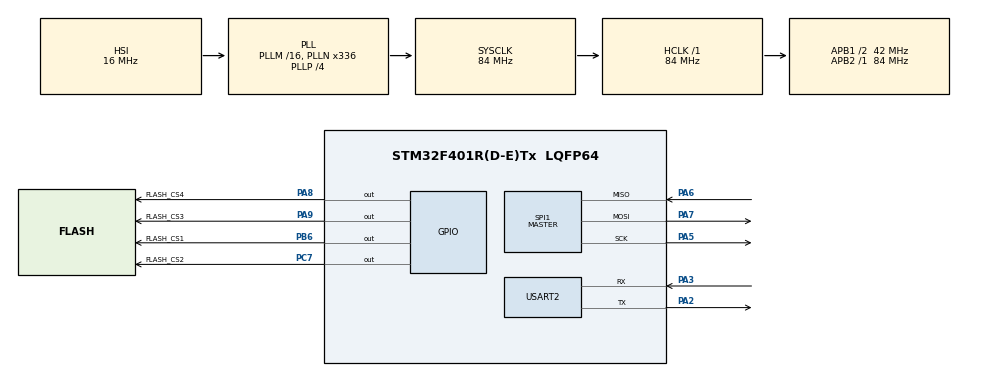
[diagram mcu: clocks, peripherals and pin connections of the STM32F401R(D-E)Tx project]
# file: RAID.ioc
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Mcu.Family=STM32F4
Mcu.Name=STM32F401R(D-E)Tx
Mcu.Package=LQFP64
NVIC.PriorityGroup=NVIC_PRIORITYGROUP_4
PA2.Mode=Asynchronous
PA2.Signal=USART2_TX
PA3.Mode=Asynchronous
PA3.Signal=USART2_RX
PA5.Mode=Full_Duplex_Master
PA5.Signal=SPI1_SCK
PA6.Mode=Full_Duplex_Master
PA6.Signal=SPI1_MISO
PA7.Mode=Full_Duplex_Master
PA7.Signal=SPI1_MOSI
PA8.GPIO_Label=FLASH_CS4
PA8.PinState=GPIO_PIN_SET
PA8.Signal=GPIO_Output
PA9.GPIO_Label=FLASH_CS3
PA9.PinState=GPIO_PIN_SET
PA9.Signal=GPIO_Output
PB6.GPIO_Label=FLASH_CS1
PB6.PinState=GPIO_PIN_SET
PB6.Signal=GPIO_Output
PC7.GPIO_Label=FLASH_CS2
PC7.PinState=GPIO_PIN_SET
PC7.Signal=GPIO_Output
ProjectManager.HeapSize=0x200
ProjectManager.StackSize=0x400
ProjectManager.TargetToolchain=STM32CubeIDE
RCC.48MHZClocksFreq_Value=48000000
RCC.AHBFreq_Value=84000000
RCC.APB1CLKDivider=RCC_HCLK_DIV2
RCC.APB1Freq_Value=42000000
RCC.APB1TimFreq_Value=84000000
RCC.APB2Freq_Value=84000000
RCC.APB2TimFreq_Value=84000000
RCC.CortexFreq_Value=84000000
RCC.HCLKFreq_Value=84000000
RCC.HSE_VALUE=8000000
RCC.HSI_VALUE=16000000
RCC.LSE_VALUE=32768
RCC.PLLN=336
RCC.PLLP=RCC_PLLP_DIV4
RCC.PLLQ=7
RCC.SYSCLKFreq_VALUE=84000000
RCC.SYSCLKSource=RCC_SYSCLKSOURCE_PLLCLK
RCC.VCOOutputFreq_Value=336000000
SPI1.BaudRatePrescaler=SPI_BAUDRATEPRESCALER_64
SPI1.Direction=SPI_DIRECTION_2LINES
SPI1.Mode=SPI_MODE_MASTER
SPI1.VirtualType=VM_MASTER
USART2.VirtualMode=VM_ASYNC
board=NUCLEO-F401RE

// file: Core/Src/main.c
/* USER CODE BEGIN Header */
/**
  ******************************************************************************
  * @file           : main.c
  * @brief          : Main program body
  ******************************************************************************
  * Copyright (c) 2026 STMicroelectronics.
  * All rights reserved.
  ******************************************************************************
  */
/* USER CODE END Header */

#include "main.h"

/* USER CODE BEGIN Includes */

#include "stdio.h"
#include "string.h"

#include "w25q64.h"
#include "raid5.h"
#include "app_demo.h"

/*
 * w25q64.h : Interface to the W25Q64 flash driver.
 * raid5.h  : RAID-5 configuration and storage operations.
 * app_demo.h: UART storage console interface.
 */

/* USER CODE END Includes */

SPI_HandleTypeDef hspi1;

UART_HandleTypeDef huart2;

void SystemClock_Config(void);
static void MX_GPIO_Init(void);
static void MX_SPI1_Init(void);
static void MX_USART2_UART_Init(void);

int main(void)
{
    /* Reset peripherals and initialize the HAL */
    HAL_Init();

    /* Configure the system clock */
    SystemClock_Config();

    /* Initialize configured peripherals */
    MX_GPIO_Init();
    MX_SPI1_Init();
    MX_USART2_UART_Init();

    /* USER CODE BEGIN 2 */

    /*
     * Create a handle for each W25Q64 flash chip.
     *
     * All four chips share SPI1 for communication.
     * Each chip has its own chip-select (CS) pin so the
     * STM32 can select one flash without selecting the others.
     *
     * Each array entry contains:
     *   SPI handle, GPIO port, CS pin.
     *
     * The array index identifies the physical flash:
     *   flashes[0] -> Flash 1
     *   flashes[1] -> Flash 2
     *   flashes[2] -> Flash 3
     *   flashes[3] -> Flash 4
     */
    W25Q64_HandleTypeDef flashes[RAID5_DEVICE_COUNT] =
    {
        {&hspi1, GPIOB, GPIO_PIN_6},  // Flash 1: PB6
        {&hspi1, GPIOC, GPIO_PIN_7},  // Flash 2: PC7
        {&hspi1, GPIOA, GPIO_PIN_9},  // Flash 3: PA9
        {&hspi1, GPIOA, GPIO_PIN_8}   // Flash 4: PA8
    };

    /*
     * The W25Q64 uses an active-low chip-select signal:
     * LOW  -> Flash selected
     * HIGH -> Flash deselected
     *
     * Keep all four chips deselected before starting
     * communication over the shared SPI bus.
     */
    HAL_GPIO_WritePin(GPIOB, GPIO_PIN_6, GPIO_PIN_SET);
    HAL_GPIO_WritePin(GPIOC, GPIO_PIN_7, GPIO_PIN_SET);
    HAL_GPIO_WritePin(GPIOA, GPIO_PIN_9, GPIO_PIN_SET);
    HAL_GPIO_WritePin(GPIOA, GPIO_PIN_8, GPIO_PIN_SET);

    /*
     * Start the UART storage console.
     *
     * huart2  : Used to receive commands from the PC and
     *           send responses through USART2.
     *
     * flashes : Provides the console and RAID layer with
     *           the configuration of all four flash chips.
     *
     * The console checks the flash devices, initializes RAID-5
     * and waits for storage commands such as read, write,
     * status and verify.
     *
     * Normal startup does not erase stored data.
     */
    APP_Console_Run(&huart2, flashes);

    /* USER CODE END 2 */

    /* Infinite loop */

    while (1)
    {

        /* USER CODE BEGIN 3 */
        HAL_Delay(1000);
    }
    /* USER CODE END 3 */
}

void SystemClock_Config(void)
{
    RCC_OscInitTypeDef RCC_OscInitStruct = {0};
    RCC_ClkInitTypeDef RCC_ClkInitStruct = {0};

    /* Configure the main internal regulator output voltage */
    __HAL_RCC_PWR_CLK_ENABLE();

    __HAL_PWR_VOLTAGESCALING_CONFIG(
        PWR_REGULATOR_VOLTAGE_SCALE2
    );

    /* Initialize the RCC Oscillators */
    RCC_OscInitStruct.OscillatorType = RCC_OSCILLATORTYPE_HSI;
    RCC_OscInitStruct.HSIState = RCC_HSI_ON;
    RCC_OscInitStruct.HSICalibrationValue =
        RCC_HSICALIBRATION_DEFAULT;

    RCC_OscInitStruct.PLL.PLLState = RCC_PLL_ON;
    RCC_OscInitStruct.PLL.PLLSource = RCC_PLLSOURCE_HSI;
    RCC_OscInitStruct.PLL.PLLM = 16;
    RCC_OscInitStruct.PLL.PLLN = 336;
    RCC_OscInitStruct.PLL.PLLP = RCC_PLLP_DIV4;
    RCC_OscInitStruct.PLL.PLLQ = 7;

    if (HAL_RCC_OscConfig(&RCC_OscInitStruct) != HAL_OK)
    {
        Error_Handler();
    }

    /* Initialize CPU, AHB and APB bus clocks */
    RCC_ClkInitStruct.ClockType =
        RCC_CLOCKTYPE_HCLK |
        RCC_CLOCKTYPE_SYSCLK |
        RCC_CLOCKTYPE_PCLK1 |
        RCC_CLOCKTYPE_PCLK2;

    RCC_ClkInitStruct.SYSCLKSource = RCC_SYSCLKSOURCE_PLLCLK;
    RCC_ClkInitStruct.AHBCLKDivider = RCC_SYSCLK_DIV1;
    RCC_ClkInitStruct.APB1CLKDivider = RCC_HCLK_DIV2;
    RCC_ClkInitStruct.APB2CLKDivider = RCC_HCLK_DIV1;

    if (HAL_RCC_ClockConfig(
            &RCC_ClkInitStruct,
            FLASH_LATENCY_2) != HAL_OK)
    {
        Error_Handler();
    }
}

static void MX_SPI1_Init(void)
{
    /* SPI1 parameter configuration */
    hspi1.Instance = SPI1;
    hspi1.Init.Mode = SPI_MODE_MASTER;
    hspi1.Init.Direction = SPI_DIRECTION_2LINES;
    hspi1.Init.DataSize = SPI_DATASIZE_8BIT;
    hspi1.Init.CLKPolarity = SPI_POLARITY_LOW;
    hspi1.Init.CLKPhase = SPI_PHASE_1EDGE;
    hspi1.Init.NSS = SPI_NSS_SOFT;
    hspi1.Init.BaudRatePrescaler = SPI_BAUDRATEPRESCALER_64;
    hspi1.Init.FirstBit = SPI_FIRSTBIT_MSB;
    hspi1.Init.TIMode = SPI_TIMODE_DISABLE;
    hspi1.Init.CRCCalculation = SPI_CRCCALCULATION_DISABLE;
    hspi1.Init.CRCPolynomial = 10;

    if (HAL_SPI_Init(&hspi1) != HAL_OK)
    {
        Error_Handler();
    }
}

static void MX_USART2_UART_Init(void)
{
    huart2.Instance = USART2;
    huart2.Init.BaudRate = 115200;
    huart2.Init.WordLength = UART_WORDLENGTH_8B;
    huart2.Init.StopBits = UART_STOPBITS_1;
    huart2.Init.Parity = UART_PARITY_NONE;
    huart2.Init.Mode = UART_MODE_TX_RX;
    huart2.Init.HwFlowCtl = UART_HWCONTROL_NONE;
    huart2.Init.OverSampling = UART_OVERSAMPLING_16;

    if (HAL_UART_Init(&huart2) != HAL_OK)
    {
        Error_Handler();
    }
}

static void MX_GPIO_Init(void)
{
    GPIO_InitTypeDef GPIO_InitStruct = {0};

    /* Enable GPIO peripheral clocks */
    __HAL_RCC_GPIOA_CLK_ENABLE();
    __HAL_RCC_GPIOC_CLK_ENABLE();
    __HAL_RCC_GPIOB_CLK_ENABLE();

    /* Set chip-select outputs HIGH before configuring them */
    HAL_GPIO_WritePin(
        FLASH_CS2_GPIO_Port,
        FLASH_CS2_Pin,
        GPIO_PIN_SET
    );

    HAL_GPIO_WritePin(
        GPIOA,
        FLASH_CS4_Pin | FLASH_CS3_Pin,
        GPIO_PIN_SET
    );

    HAL_GPIO_WritePin(
        FLASH_CS1_GPIO_Port,
        FLASH_CS1_Pin,
        GPIO_PIN_SET
    );

    /* Configure Flash 2 CS: PC7 */
    GPIO_InitStruct.Pin = FLASH_CS2_Pin;
    GPIO_InitStruct.Mode = GPIO_MODE_OUTPUT_PP;
    GPIO_InitStruct.Pull = GPIO_NOPULL;
    GPIO_InitStruct.Speed = GPIO_SPEED_FREQ_LOW;

    HAL_GPIO_Init(
        FLASH_CS2_GPIO_Port,
        &GPIO_InitStruct
    );

    /* Configure Flash 3 and Flash 4 CS: PA9 and PA8 */
    GPIO_InitStruct.Pin = FLASH_CS4_Pin | FLASH_CS3_Pin;
    GPIO_InitStruct.Mode = GPIO_MODE_OUTPUT_PP;
    GPIO_InitStruct.Pull = GPIO_NOPULL;
    GPIO_InitStruct.Speed = GPIO_SPEED_FREQ_LOW;

    HAL_GPIO_Init(GPIOA, &GPIO_InitStruct);

    /* Configure Flash 1 CS: PB6 */
    GPIO_InitStruct.Pin = FLASH_CS1_Pin;
    GPIO_InitStruct.Mode = GPIO_MODE_OUTPUT_PP;
    GPIO_InitStruct.Pull = GPIO_NOPULL;
    GPIO_InitStruct.Speed = GPIO_SPEED_FREQ_LOW;

    HAL_GPIO_Init(
        FLASH_CS1_GPIO_Port,
        &GPIO_InitStruct
    );
}

void Error_Handler(void)
{
    __disable_irq();
    while (1)
    {
    }
}

#ifdef USE_FULL_ASSERT

/**
  * @brief Reports the source file and line number of an assert error.
  * @param file: source file name
  * @param line: assert error line number
  */
void assert_failed(uint8_t *file, uint32_t line)
{
    /* USER CODE BEGIN 6 */
    (void)file;
    (void)line;
    /* USER CODE END 6 */
}

#endif
